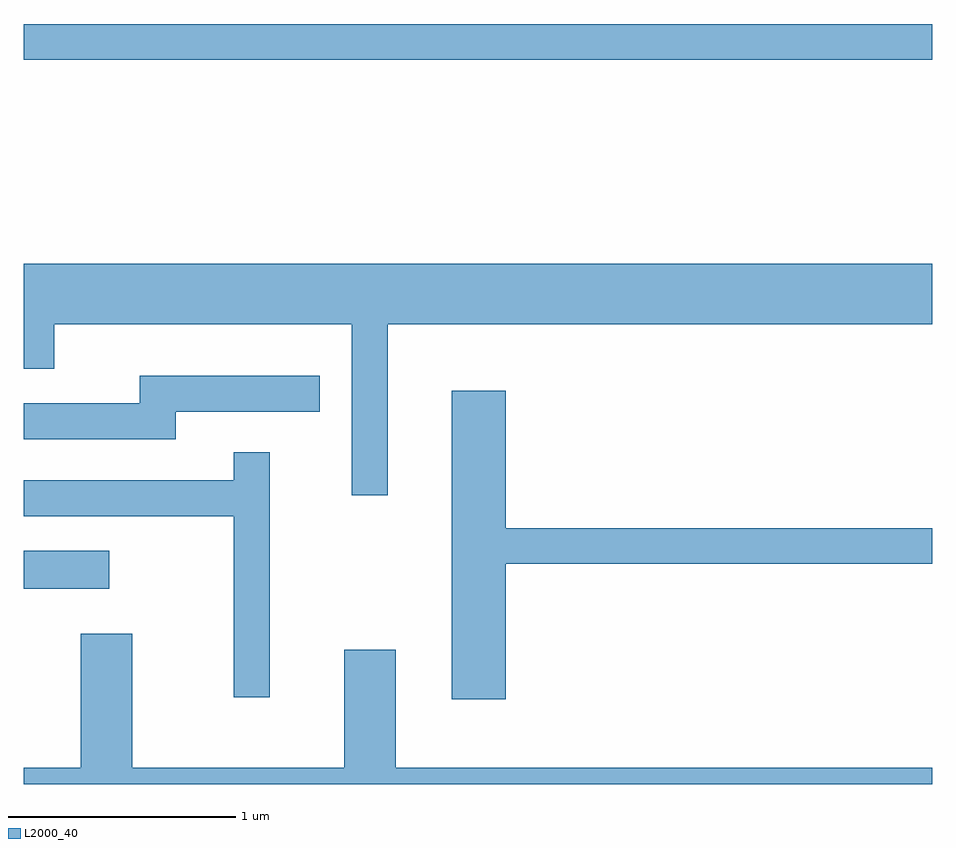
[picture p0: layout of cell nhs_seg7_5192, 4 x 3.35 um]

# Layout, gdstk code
import gdstk
lib = gdstk.Library(unit=1e-6, precision=1e-09)
def R(c, l, rs):  # rectangles x0, y0, x1, y1
    for r in rs: c.add(gdstk.rectangle(r[:2], r[2:], *l))
def P(c, l, *ps):  # polygons
    for p in ps: c.add(gdstk.Polygon(p, *l))
L2000_40 = (2000, 40)

nhs_seg7_5192 = lib.new_cell('nhs_seg7_5192')
R(nhs_seg7_5192, L2000_40, [(343.611,1753.111,343.988,1753.279), (343.611,1755.441,347.611,1755.599)])
P(nhs_seg7_5192, L2000_40, [(345.214,1754.276),(347.611,1754.276),(347.611,1754.544),(343.611,1754.544),(343.611,1754.081),(343.744,1754.081),(343.744,1754.276),(345.056,1754.276),(345.056,1753.523),(345.214,1753.523)],
  [(344.279,1753.891),(344.913,1753.891),(344.913,1754.049),(344.121,1754.049),(344.121,1753.929),(343.611,1753.929),(343.611,1753.771),(344.279,1753.771)],
  [(345.734,1753.221),(347.611,1753.221),(347.611,1753.379),(345.734,1753.379),(345.734,1753.984),(345.496,1753.984),(345.496,1752.626),(345.734,1752.626)],
  [(344.694,1753.713),(344.536,1753.713),(344.536,1753.589),(343.611,1753.589),(343.611,1753.431),(344.536,1753.431),(344.536,1752.633),(344.694,1752.633)],
  [(347.611,1752.324),(345.249,1752.324),(345.249,1752.844),(345.021,1752.844),(345.021,1752.324),(344.089,1752.324),(344.089,1752.914),(343.861,1752.914),(343.861,1752.324),(343.611,1752.324),(343.611,1752.252),(347.611,1752.252)])

lib.write_gds('nhs_seg7_5192.gds')
